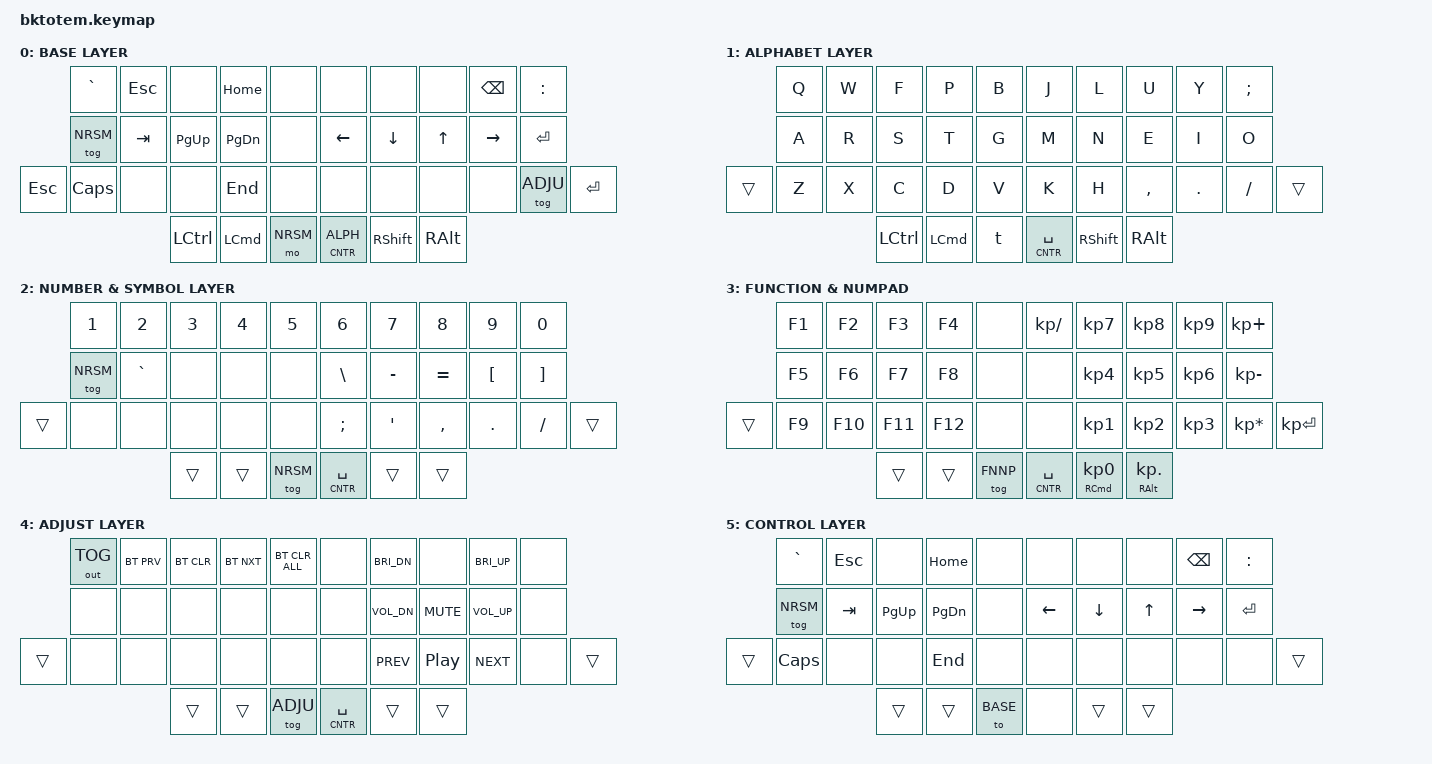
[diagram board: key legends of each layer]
//
//                                                        ▀▀▀▀▀     ▀▀▀▀▀          ▀▀█▀▀
//                                                        ▄▀▀▀▄  ▄  ▄▀▀▀▄  ▄  ▄▀▀▀▄  █  ▄▀▀▀▄
//                                                        █   █  █  █   █  █  █   █  █  █   █
//                                                         ▀▀▀   █   ▀▀▀   █   ▀▀▀   ▀   ▀▀▀
//                                                               █      ▄▄▄█▄▄▄    █   █  
//                                                               ▀      █  █  █     █▄█
//                                                             ▀▀▀▀▀    █  █  █      ▀
//                                                                      ▀  ▀  ▀
//
// ▄▄▄▄▄▄▄▄▄▄▄▄▄▄▄▄▄▄▄▄▄▄▄▄▄▄▄▄▄▄▄▄▄▄▄▄▄▄▄▄▄▄▄▄▄▄▄▄▄▄▄▄▄▄▄▄▄▄▄▄▄▄▄▄▄▄▄▄▄▄▄▄▄▄▄▄▄▄▄▄▄▄▄▄▄▄▄▄▄▄▄▄▄▄▄▄▄▄▄▄▄▄▄▄▄▄▄▄▄▄▄▄▄▄▄▄▄▄▄▄▄▄▄▄▄▄▄▄▄▄▄▄▄▄▄▄▄▄▄▄▄▄▄▄▄▄▄▄▄
       

#include <behaviors.dtsi>
#include <dt-bindings/zmk/keys.h>
#include <dt-bindings/zmk/bt.h>
#include <dt-bindings/zmk/outputs.h>

#define BASE  0
#define ALPH  1
#define NRSM  2
#define FNNP  3
#define ADJU  4
#define CNTR  5

&lt {
        tapping-term-ms = <100>;
        quick-tap-ms = <0>;
        retro-tap;
        flavor = "hold-preferred";
};

#define MO_TOG(layer) &mo_tog layer layer
#define MO_SL(layer) &mo_sl layer layer

/ {
        behaviors {
                mo_tog: behavior_mo_tog {
                        compatible = "zmk,behavior-hold-tap";
                        #binding-cells = <2>;
                        flavor = "hold-preferred";
                        tapping-term-ms = <200>;
                        bindings = <&mo>, <&tog>;
                };

                mo_sl: behavior_mo_tog {
                        compatible = "zmk,behavior-hold-tap";
                        #binding-cells = <2>;
                        flavor = "hold-preferred";
                        tapping-term-ms = <200>;
                        bindings = <&mo>, <&sl>;
                };
        };      

        keymap {
                compatible = "zmk,keymap";

// ▄▄▄▄▄▄▄▄▄▄▄▄▄▄▄▄▄▄▄▄▄▄▄▄▄▄▄▄▄▄▄▄▄▄▄▄▄▄▄▄▄▄▄▄▄▄▄▄▄▄▄▄▄▄▄▄▄▄▄▄▄▄▄▄▄▄▄▄▄▄▄▄▄▄▄▄▄▄▄▄▄▄▄▄▄▄▄▄▄▄▄▄▄▄▄▄▄▄▄▄▄▄▄▄▄▄▄▄▄▄▄▄▄▄▄▄▄▄▄▄▄▄▄▄▄▄▄▄▄▄▄▄▄▄▄▄▄▄▄▄▄▄▄▄▄▄▄▄▄

                base_layer {
// ┏━━━━━━━━━━━━━━━━━━━━━━━━━━━━━━━━━━━━━━━┓
label= "BASE LAYER"                        ;
// ┗━━━━━━━━━━━━━━━━━━━━━━━━━━━━━━━━━━━━━━━┛
//             ┏━━━━━━━━━━━┳━━━━━━━━━━━┳━━━━━━━━━━━┳━━━━━━━━━━━┳━━━━━━━━━━━┓   ┏━━━━━━━━━━━┳━━━━━━━━━━━┳━━━━━━━━━━━┳━━━━━━━━━━━┳━━━━━━━━━━━┓
//             ┃     `     ┃    ESC    ┃           ┃    HOME   ┃           ┃   ┃           ┃           ┃           ┃    BSPC   ┃   COLON   ┃
//             ┣━━━━━━━━━━━╋━━━━━━━━━━━╋━━━━━━━━━━━╋━━━━━━━━━━━╋━━━━━━━━━━━┫   ┣━━━━━━━━━━━╋━━━━━━━━━━━╋━━━━━━━━━━━╋━━━━━━━━━━━╋━━━━━━━━━━━┫
//             ┃    NRSM   ┃    TAB    ┃  PG UP    ┃   PG DOWN ┃           ┃   ┃   LEFT    ┃    DOWN   ┃     UP    ┃    RIGHT  ┃    RET    ┃
// ┏━━━━━━━━━━━╋━━━━━━━━━━━╋━━━━━━━━━━━╋━━━━━━━━━━━╋━━━━━━━━━━━╋━━━━━━━━━━━┫   ┣━━━━━━━━━━━╋━━━━━━━━━━━╋━━━━━━━━━━━╋━━━━━━━━━━━╋━━━━━━━━━━━╋━━━━━━━━━━━┓
// ┃    ESC    ┃    CAPS   ┃           ┃           ┃    END    ┃           ┃   ┃    FNNP   ┃           ┃           ┃           ┃    ADJU   ┃    RET    ┃
// ┗━━━━━━━━━━━┻━━━━━━━━━━━┻━━━━━━━━━━━╋━━━━━━━━━━━╋━━━━━━━━━━━╋━━━━━━━━━━━┫   ┣━━━━━━━━━━━╋━━━━━━━━━━━╋━━━━━━━━━━━╋━━━━━━━━━━━┻━━━━━━━━━━━┻━━━━━━━━━━━┛
//                                     ┃    CTRL   ┃    CMD    ┃    NRSM   ┃   ┃    ALPH   ┃   SHIFT   ┃    ALT    ┃
//                                     ┗━━━━━━━━━━━┻━━━━━━━━━━━┻━━━━━━━━━━━┛   ┗━━━━━━━━━━━┻━━━━━━━━━━━┻━━━━━━━━━━━┛
bindings = <
// ╷           ╷           ╷           ╷           ╷           ╷           ╷   ╷           ╷           ╷           ╷           ╷           ╷           ╷

                &kp GRAVE   &kp ESC     &none       &kp HOME    &none           &none       &none       &none       &kp BSPC    &kp COLON
                &tog NRSM   &kp TAB     &kp PG_UP   &kp PG_DN   &none           &kp LEFT    &kp DOWN    &kp UP      &kp RIGHT   &kp RET
    &kp ESC     &kp CAPS    &none       &none       &kp END     &none           &none       &none       &none       &none       &tog ADJU   &kp RET 
                                        &kp LCTRL   &kp LCMD    &mo NRSM        &mo_tog CNTR ALPH &kp RSHFT &kp RALT
                        >;
                };

// ▄▄▄▄▄▄▄▄▄▄▄▄▄▄▄▄▄▄▄▄▄▄▄▄▄▄▄▄▄▄▄▄▄▄▄▄▄▄▄▄▄▄▄▄▄▄▄▄▄▄▄▄▄▄▄▄▄▄▄▄▄▄▄▄▄▄▄▄▄▄▄▄▄▄▄▄▄▄▄▄▄▄▄▄▄▄▄▄▄▄▄▄▄▄▄▄▄▄▄▄▄▄▄▄▄▄▄▄▄▄▄▄▄▄▄▄▄▄▄▄▄▄▄▄▄▄▄▄▄▄▄▄▄▄▄▄▄▄▄▄▄▄▄▄▄▄▄▄▄

                alph_layer {
// ┏━━━━━━━━━━━━━━━━━━━━━━━━━━━━━━━━━━━━━━━┓
label= "ALPHABET LAYER"                    ;
// ┗━━━━━━━━━━━━━━━━━━━━━━━━━━━━━━━━━━━━━━━┛
//             ┏━━━━━━━━━━━┳━━━━━━━━━━━┳━━━━━━━━━━━┳━━━━━━━━━━━┳━━━━━━━━━━━┓   ┏━━━━━━━━━━━┳━━━━━━━━━━━┳━━━━━━━━━━━┳━━━━━━━━━━━┳━━━━━━━━━━━┓
//             ┃     Q     ┃     W     ┃     F     ┃     P     ┃     B     ┃   ┃     J     ┃     L     ┃     U     ┃     Y     ┃     ;     ┃
//             ┣━━━━━━━━━━━╋━━━━━━━━━━━╋━━━━━━━━━━━╋━━━━━━━━━━━╋━━━━━━━━━━━┫   ┣━━━━━━━━━━━╋━━━━━━━━━━━╋━━━━━━━━━━━╋━━━━━━━━━━━╋━━━━━━━━━━━┫
//             ┃     A     ┃     R     ┃     S     ┃     T     ┃     G     ┃   ┃     M     ┃     N     ┃     E     ┃     I     ┃     O     ┃
// ┏━━━━━━━━━━━╋━━━━━━━━━━━╋━━━━━━━━━━━╋━━━━━━━━━━━╋━━━━━━━━━━━╋━━━━━━━━━━━┫   ┣━━━━━━━━━━━╋━━━━━━━━━━━╋━━━━━━━━━━━╋━━━━━━━━━━━╋━━━━━━━━━━━╋━━━━━━━━━━━┓
// ┃    ESC    ┃     Z     ┃     X     ┃     C     ┃     D     ┃     V     ┃   ┃     K     ┃     H     ┃     ,     ┃     .     ┃     /     ┃   RET     ┃
// ┗━━━━━━━━━━━┻━━━━━━━━━━━┻━━━━━━━━━━━╋━━━━━━━━━━━╋━━━━━━━━━━━╋━━━━━━━━━━━┫   ┣━━━━━━━━━━━╋━━━━━━━━━━━╋━━━━━━━━━━━╋━━━━━━━━━━━┻━━━━━━━━━━━┻━━━━━━━━━━━┛
//                                     ┃    CTRL   ┃    CMD    ┃    ALPH   ┃   ┃   SPACE   ┃   SHIFT   ┃    ALT    ┃
//                                     ┗━━━━━━━━━━━┻━━━━━━━━━━━┻━━━━━━━━━━━┛   ┗━━━━━━━━━━━┻━━━━━━━━━━━┻━━━━━━━━━━━┛
bindings = <
// ╷           ╷           ╷           ╷           ╷           ╷           ╷   ╷           ╷           ╷           ╷           ╷           ╷           ╷

                &kp Q       &kp W       &kp F       &kp P       &kp B           &kp J       &kp L       &kp U       &kp Y       &kp SEMI
                &kp A       &kp R       &kp S       &kp T       &kp G           &kp M       &kp N       &kp E       &kp I       &kp O
    &trans      &kp Z       &kp X       &kp C       &kp D       &kp V           &kp K       &kp H       &kp COMMA   &kp PERIOD  &kp FSLH    &trans
                                        &kp LCTRL   &kp LCMD    &t       &lt CNTR SPACE &kp RSHFT &kp RALT
                        >;
                };

// ▄▄▄▄▄▄▄▄▄▄▄▄▄▄▄▄▄▄▄▄▄▄▄▄▄▄▄▄▄▄▄▄▄▄▄▄▄▄▄▄▄▄▄▄▄▄▄▄▄▄▄▄▄▄▄▄▄▄▄▄▄▄▄▄▄▄▄▄▄▄▄▄▄▄▄▄▄▄▄▄▄▄▄▄▄▄▄▄▄▄▄▄▄▄▄▄▄▄▄▄▄▄▄▄▄▄▄▄▄▄▄▄▄▄▄▄▄▄▄▄▄▄▄▄▄▄▄▄▄▄▄▄▄▄▄▄▄▄▄▄▄▄▄▄▄▄▄▄▄

                nrsm_layer {
// ┏━━━━━━━━━━━━━━━━━━━━━━━━━━━━━━━━━━━━━━━┓
label= "NUMBER & SYMBOL LAYER"             ;
// ┗━━━━━━━━━━━━━━━━━━━━━━━━━━━━━━━━━━━━━━━┛
//             ┏━━━━━━━━━━━┳━━━━━━━━━━━┳━━━━━━━━━━━┳━━━━━━━━━━━┳━━━━━━━━━━━┓   ┏━━━━━━━━━━━┳━━━━━━━━━━━┳━━━━━━━━━━━┳━━━━━━━━━━━┳━━━━━━━━━━━┓
//             ┃     1 !   ┃    2 @    ┃     3 #   ┃    4 $    ┃    5 %    ┃   ┃     6 ^   ┃     7 &   ┃    8 *    ┃    9 (    ┃    10 )   ┃
//             ┣━━━━━━━━━━━╋━━━━━━━━━━━╋━━━━━━━━━━━╋━━━━━━━━━━━╋━━━━━━━━━━━┫   ┣━━━━━━━━━━━╋━━━━━━━━━━━╋━━━━━━━━━━━╋━━━━━━━━━━━╋━━━━━━━━━━━┫
//             ┃    NRSM   ┃     `     ┃           ┃           ┃           ┃   ┃     \     ┃     -     ┃     =     ┃     [     ┃     ]     ┃
// ┏━━━━━━━━━━━╋━━━━━━━━━━━╋━━━━━━━━━━━╋━━━━━━━━━━━╋━━━━━━━━━━━╋━━━━━━━━━━━┫   ┣━━━━━━━━━━━╋━━━━━━━━━━━╋━━━━━━━━━━━╋━━━━━━━━━━━╋━━━━━━━━━━━╋━━━━━━━━━━━┓
// ┃   ESC     ┃           ┃           ┃           ┃           ┃           ┃   ┃     ;     ┃     '     ┃     ,     ┃     .     ┃     /     ┃    RET    ┃
// ┗━━━━━━━━━━━┻━━━━━━━━━━━┻━━━━━━━━━━━╋━━━━━━━━━━━╋━━━━━━━━━━━╋━━━━━━━━━━━┫   ┣━━━━━━━━━━━╋━━━━━━━━━━━╋━━━━━━━━━━━╋━━━━━━━━━━━┻━━━━━━━━━━━┻━━━━━━━━━━━┛
//                                     ┃    CTRL   ┃    CMD    ┃    NRSM   ┃   ┃   SPACE   ┃   SHIFT   ┃    ALT    ┃
//                                     ┗━━━━━━━━━━━┻━━━━━━━━━━━┻━━━━━━━━━━━┛   ┗━━━━━━━━━━━┻━━━━━━━━━━━┻━━━━━━━━━━━┛
bindings = <
// ╷           ╷           ╷           ╷           ╷           ╷           ╷   ╷           ╷           ╷           ╷           ╷           ╷           ╷

                &kp N1      &kp N2      &kp N3      &kp N4      &kp N5          &kp N6      &kp N7      &kp N8      &kp N9      &kp N0
                &tog NRSM   &kp GRAVE   &none       &none       &none           &kp BSLH    &kp MINUS   &kp EQUAL   &kp LBKT    &kp RBKT
    &trans      &none       &none       &none       &none       &none           &kp SEMI    &kp APOS    &kp COMMA    &kp PERIOD &kp FSLH    &trans 
                                        &trans      &trans      &tog NRSM       &lt CNTR SPACE &trans   &trans
                        >;
                };

// ▄▄▄▄▄▄▄▄▄▄▄▄▄▄▄▄▄▄▄▄▄▄▄▄▄▄▄▄▄▄▄▄▄▄▄▄▄▄▄▄▄▄▄▄▄▄▄▄▄▄▄▄▄▄▄▄▄▄▄▄▄▄▄▄▄▄▄▄▄▄▄▄▄▄▄▄▄▄▄▄▄▄▄▄▄▄▄▄▄▄▄▄▄▄▄▄▄▄▄▄▄▄▄▄▄▄▄▄▄▄▄▄▄▄▄▄▄▄▄▄▄▄▄▄▄▄▄▄▄▄▄▄▄▄▄▄▄▄▄▄▄▄▄▄▄▄▄▄▄

                fnnp_layer {
// ┏━━━━━━━━━━━━━━━━━━━━━━━━━━━━━━━━━━━━━━━┓
label= "FUNCTION & NUMPAD"                 ;
// ┗━━━━━━━━━━━━━━━━━━━━━━━━━━━━━━━━━━━━━━━┛
//             ┏━━━━━━━━━━━┳━━━━━━━━━━━┳━━━━━━━━━━━┳━━━━━━━━━━━┳━━━━━━━━━━━┓   ┏━━━━━━━━━━━┳━━━━━━━━━━━┳━━━━━━━━━━━┳━━━━━━━━━━━┳━━━━━━━━━━━┓
//             ┃     F1    ┃     F2    ┃     F3    ┃     F4    ┃           ┃   ┃     /     ┃     7     ┃     8     ┃     9     ┃     +     ┃
//             ┣━━━━━━━━━━━╋━━━━━━━━━━━╋━━━━━━━━━━━╋━━━━━━━━━━━╋━━━━━━━━━━━┫   ┣━━━━━━━━━━━╋━━━━━━━━━━━╋━━━━━━━━━━━╋━━━━━━━━━━━╋━━━━━━━━━━━┫
//             ┃     F5    ┃     F6    ┃     F7    ┃     F8    ┃           ┃   ┃           ┃     4     ┃     5     ┃     6     ┃     -     ┃
// ┏━━━━━━━━━━━╋━━━━━━━━━━━╋━━━━━━━━━━━╋━━━━━━━━━━━╋━━━━━━━━━━━╋━━━━━━━━━━━┫   ┣━━━━━━━━━━━╋━━━━━━━━━━━╋━━━━━━━━━━━╋━━━━━━━━━━━╋━━━━━━━━━━━╋━━━━━━━━━━━┓
// ┃   ESC     ┃     F9    ┃     F10   ┃    F11    ┃    F12    ┃           ┃   ┃           ┃     1     ┃     2     ┃     3     ┃     *     ┃    RET    ┃
// ┗━━━━━━━━━━━┻━━━━━━━━━━━┻━━━━━━━━━━━╋━━━━━━━━━━━╋━━━━━━━━━━━╋━━━━━━━━━━━┫   ┣━━━━━━━━━━━╋━━━━━━━━━━━╋━━━━━━━━━━━╋━━━━━━━━━━━┻━━━━━━━━━━━┻━━━━━━━━━━━┛
//                                     ┃    CTRL   ┃    CMD    ┃    FNNP   ┃   ┃    BSE    ┃   SHIFT   ┃    ALT    ┃
//                                     ┗━━━━━━━━━━━┻━━━━━━━━━━━┻━━━━━━━━━━━┛   ┗━━━━━━━━━━━┻━━━━━━━━━━━┻━━━━━━━━━━━┛
bindings = <
// ╷           ╷           ╷           ╷           ╷           ╷           ╷   ╷           ╷           ╷           ╷           ╷           ╷           ╷

                &kp F1     &kp F2       &kp F3      &kp F4      &none            &kp KP_SLASH &kp KP_N7 &kp KP_N8   &kp KP_N9   &kp KP_PLUS
                &kp F5     &kp F6       &kp F7      &kp F8      &none            &none      &kp KP_N4   &kp KP_N5   &kp KP_N6   &kp KP_MINUS
    &trans      &kp F9     &kp F10      &kp F11     &kp F12     &none            &none      &kp KP_N1   &kp KP_N2   &kp KP_N3   &kp KP_MULTIPLY &kp KP_ENTER
                                        &trans      &trans      &tog FNNP        &lt CNTR SPACE &mt RCMD KP_N0 &mt RALT KP_DOT
                        >;
                };

// ▄▄▄▄▄▄▄▄▄▄▄▄▄▄▄▄▄▄▄▄▄▄▄▄▄▄▄▄▄▄▄▄▄▄▄▄▄▄▄▄▄▄▄▄▄▄▄▄▄▄▄▄▄▄▄▄▄▄▄▄▄▄▄▄▄▄▄▄▄▄▄▄▄▄▄▄▄▄▄▄▄▄▄▄▄▄▄▄▄▄▄▄▄▄▄▄▄▄▄▄▄▄▄▄▄▄▄▄▄▄▄▄▄▄▄▄▄▄▄▄▄▄▄▄▄▄▄▄▄▄▄▄▄▄▄▄▄▄▄▄▄▄▄▄▄▄▄▄▄

                adju_layer {
// ┏━━━━━━━━━━━━━━━━━━━━━━━━━━━━━━━━━━━━━━━┓
label= "ADJUST LAYER"                      ;
// ┗━━━━━━━━━━━━━━━━━━━━━━━━━━━━━━━━━━━━━━━┛
//             ┏━━━━━━━━━━━┳━━━━━━━━━━━┳━━━━━━━━━━━┳━━━━━━━━━━━┳━━━━━━━━━━━┓   ┏━━━━━━━━━━━┳━━━━━━━━━━━┳━━━━━━━━━━━┳━━━━━━━━━━━┳━━━━━━━━━━━┓
//             ┃           ┃  BT_PREV  ┃  BT_CLR   ┃  BT_NEXT  ┃BT_CLR_ALL ┃   ┃           ┃  BRI_DN   ┃           ┃  BRI_DN   ┃           ┃
//             ┣━━━━━━━━━━━╋━━━━━━━━━━━╋━━━━━━━━━━━╋━━━━━━━━━━━╋━━━━━━━━━━━┫   ┣━━━━━━━━━━━╋━━━━━━━━━━━╋━━━━━━━━━━━╋━━━━━━━━━━━╋━━━━━━━━━━━┫
//             ┃           ┃           ┃           ┃           ┃           ┃   ┃           ┃  VOL_DN   ┃   MUTE    ┃  VOL_UP   ┃           ┃
// ┏━━━━━━━━━━━╋━━━━━━━━━━━╋━━━━━━━━━━━╋━━━━━━━━━━━╋━━━━━━━━━━━╋━━━━━━━━━━━┫   ┣━━━━━━━━━━━╋━━━━━━━━━━━╋━━━━━━━━━━━╋━━━━━━━━━━━╋━━━━━━━━━━━╋━━━━━━━━━━━┓
// ┃           ┃           ┃           ┃           ┃           ┃           ┃   ┃           ┃    PREV   ┃    PP     ┃    NEXT   ┃           ┃           ┃
// ┗━━━━━━━━━━━┻━━━━━━━━━━━┻━━━━━━━━━━━╋━━━━━━━━━━━╋━━━━━━━━━━━╋━━━━━━━━━━━┫   ┣━━━━━━━━━━━╋━━━━━━━━━━━╋━━━━━━━━━━━╋━━━━━━━━━━━┻━━━━━━━━━━━┻━━━━━━━━━━━┛
//                                     ┃    CTRL   ┃    CMD    ┃    ADJU   ┃   ┃   SPACE   ┃   SHIFT   ┃    ALT    ┃
//                                     ┗━━━━━━━━━━━┻━━━━━━━━━━━┻━━━━━━━━━━━┛   ┗━━━━━━━━━━━┻━━━━━━━━━━━┻━━━━━━━━━━━┛
bindings = <
// ╷           ╷           ╷           ╷           ╷           ╷           ╷   ╷           ╷           ╷           ╷           ╷           ╷           ╷

                &out OUT_TOG &bt BT_PRV &bt BT_CLR  &bt BT_NXT  &bt BT_CLR_ALL  &none       &kp C_BRI_DN &none      &kp C_BRI_UP &none 
                &none       &none       &none       &none       &none           &none       &kp C_VOL_DN &kp C_MUTE &kp C_VOL_UP &none 
    &trans      &none       &none       &none       &none       &none           &none       &kp C_PREV  &kp C_PP    &kp C_NEXT  &none       &trans 
                                        &trans      &trans      &tog ADJU       &lt CNTR SPACE   &trans      &trans
                        >;
                };

// ▄▄▄▄▄▄▄▄▄▄▄▄▄▄▄▄▄▄▄▄▄▄▄▄▄▄▄▄▄▄▄▄▄▄▄▄▄▄▄▄▄▄▄▄▄▄▄▄▄▄▄▄▄▄▄▄▄▄▄▄▄▄▄▄▄▄▄▄▄▄▄▄▄▄▄▄▄▄▄▄▄▄▄▄▄▄▄▄▄▄▄▄▄▄▄▄▄▄▄▄▄▄▄▄▄▄▄▄▄▄▄▄▄▄▄▄▄▄▄▄▄▄▄▄▄▄▄▄▄▄▄▄▄▄▄▄▄▄▄▄▄▄▄▄▄▄▄▄▄

                cntr_layer {
// ┏━━━━━━━━━━━━━━━━━━━━━━━━━━━━━━━━━━━━━━━┓
label= "CONTROL LAYER"                     ;
// ┗━━━━━━━━━━━━━━━━━━━━━━━━━━━━━━━━━━━━━━━┛
//             ┏━━━━━━━━━━━┳━━━━━━━━━━━┳━━━━━━━━━━━┳━━━━━━━━━━━┳━━━━━━━━━━━┓   ┏━━━━━━━━━━━┳━━━━━━━━━━━┳━━━━━━━━━━━┳━━━━━━━━━━━┳━━━━━━━━━━━┓
//             ┃     `     ┃    ESC    ┃           ┃    HOME   ┃           ┃   ┃           ┃           ┃           ┃    BSPC   ┃   COLON   ┃
//             ┣━━━━━━━━━━━╋━━━━━━━━━━━╋━━━━━━━━━━━╋━━━━━━━━━━━╋━━━━━━━━━━━┫   ┣━━━━━━━━━━━╋━━━━━━━━━━━╋━━━━━━━━━━━╋━━━━━━━━━━━╋━━━━━━━━━━━┫
//             ┃    NRSM   ┃    TAB    ┃  PG UP    ┃   PG DOWN ┃           ┃   ┃   LEFT    ┃    DOWN   ┃     UP    ┃    RIGHT  ┃    RET    ┃
// ┏━━━━━━━━━━━╋━━━━━━━━━━━╋━━━━━━━━━━━╋━━━━━━━━━━━╋━━━━━━━━━━━╋━━━━━━━━━━━┫   ┣━━━━━━━━━━━╋━━━━━━━━━━━╋━━━━━━━━━━━╋━━━━━━━━━━━╋━━━━━━━━━━━╋━━━━━━━━━━━┓
// ┃    ESC    ┃    CAPS   ┃           ┃           ┃    END    ┃           ┃   ┃           ┃           ┃           ┃           ┃           ┃    RET    ┃
// ┗━━━━━━━━━━━┻━━━━━━━━━━━┻━━━━━━━━━━━╋━━━━━━━━━━━╋━━━━━━━━━━━╋━━━━━━━━━━━┫   ┣━━━━━━━━━━━╋━━━━━━━━━━━╋━━━━━━━━━━━╋━━━━━━━━━━━┻━━━━━━━━━━━┻━━━━━━━━━━━┛
//                                     ┃    CTRL   ┃    CMD    ┃   BASE    ┃   ┃    BSE    ┃   SHIFT   ┃    ALT    ┃
//                                     ┗━━━━━━━━━━━┻━━━━━━━━━━━┻━━━━━━━━━━━┛   ┗━━━━━━━━━━━┻━━━━━━━━━━━┻━━━━━━━━━━━┛
bindings = <
// ╷           ╷           ╷           ╷           ╷           ╷           ╷   ╷           ╷           ╷           ╷           ╷           ╷           ╷

                &kp GRAVE   &kp ESC     &none       &kp HOME    &none           &none       &none       &none       &kp BSPC    &kp COLON 
                &tog NRSM   &kp TAB     &kp PG_UP   &kp PG_DN   &none           &kp LEFT    &kp DOWN    &kp UP      &kp RIGHT   &kp RET
    &trans      &kp CAPS    &none       &none       &kp END     &none           &none       &none       &none       &none       &none       &trans 
                                        &trans      &trans      &to BASE        &none       &trans      &trans
                        >;
                };
        };
};
